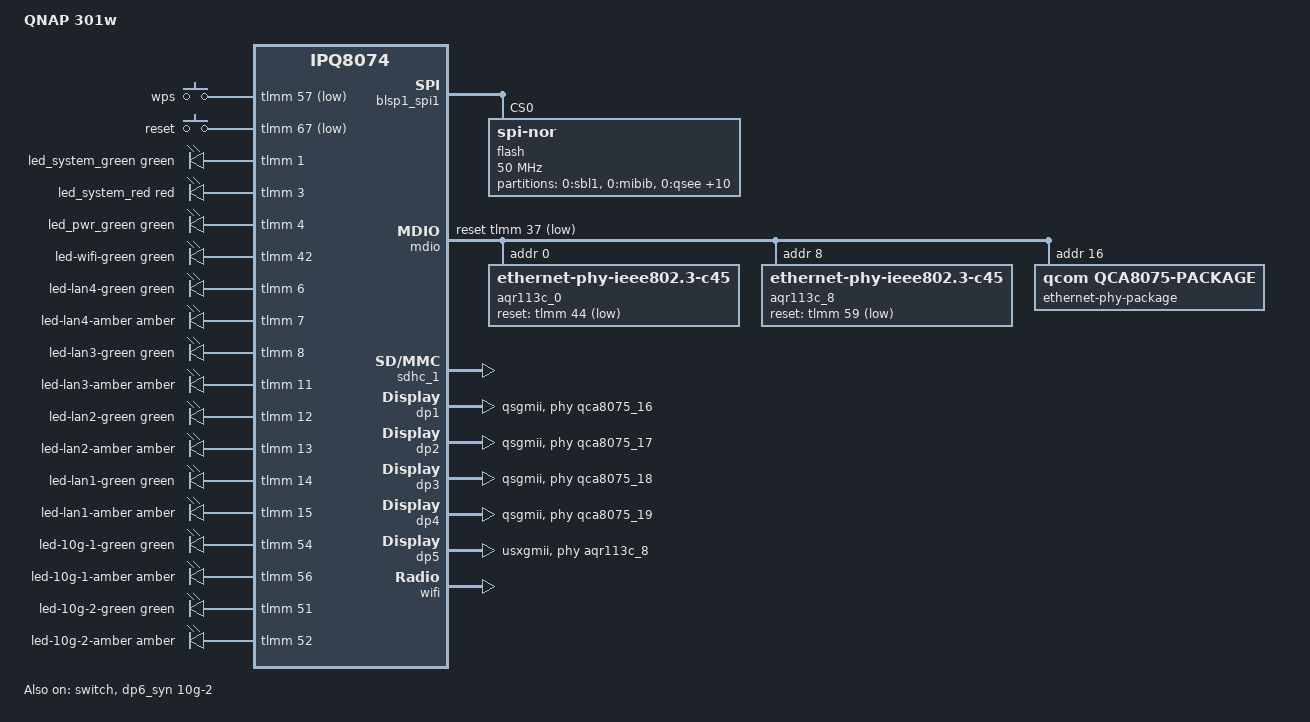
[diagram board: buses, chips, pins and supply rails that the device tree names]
// SPDX-License-Identifier: GPL-2.0-or-later OR MIT

/dts-v1/;

#include "ipq8074.dtsi"
#include "ipq8074-ess.dtsi"
#include "ipq8074-nss.dtsi"
#include "ipq8074-common.dtsi"
#include "ipq8074-hk-cpu.dtsi"

#include <dt-bindings/gpio/gpio.h>
#include <dt-bindings/input/input.h>
#include <dt-bindings/leds/common.h>

/ {
	model = "QNAP 301w";
	compatible = "qnap,301w", "qcom,ipq8074";

	aliases {
		serial0 = &blsp1_uart5;

		led-boot = &led_system_red;
		led-failsafe = &led_system_red;
		led-running = &led_pwr_green;
		led-upgrade = &led_system_red;

		ethernet0 = &dp1;
		ethernet1 = &dp2;
		ethernet2 = &dp3;
		ethernet3 = &dp4;
		ethernet4 = &dp5;
		ethernet5 = &dp6_syn;

		label-mac-device = &dp1;
	};

	chosen {
		stdout-path = "serial0:115200n8";
	};

	keys {
		compatible = "gpio-keys";

		wps-button {
			label = "wps";
			gpios = <&tlmm 57 GPIO_ACTIVE_LOW>;
			linux,code = <KEY_WPS_BUTTON>;
		};

		reset-button {
			label = "reset";
			gpios = <&tlmm 67 GPIO_ACTIVE_LOW>;
			linux,code = <KEY_RESTART>;
		};
	};

	leds {
		compatible = "gpio-leds";

		led_system_green: system-green {
			gpios = <&tlmm 1 GPIO_ACTIVE_HIGH>;
			color = <LED_COLOR_ID_GREEN>;
			function = LED_FUNCTION_STATUS;
		};

		led_system_red: system-red {
			gpios = <&tlmm 3 GPIO_ACTIVE_HIGH>;
			color = <LED_COLOR_ID_RED>;
			function = LED_FUNCTION_STATUS;
		};

		led_pwr_green: pwr-green {
			gpios = <&tlmm 4 GPIO_ACTIVE_HIGH>;
			color = <LED_COLOR_ID_GREEN>;
			function = LED_FUNCTION_POWER;
		};

		led-wifi-green {
			gpios = <&tlmm 42 GPIO_ACTIVE_HIGH>;
			color = <LED_COLOR_ID_GREEN>;
			function = LED_FUNCTION_WLAN;
		};

		led-lan4-green {
			gpios = <&tlmm 6 GPIO_ACTIVE_HIGH>;
			color = <LED_COLOR_ID_GREEN>;
			function = LED_FUNCTION_LAN;
			function-enumerator = <4>;
		};

		led-lan4-amber {
			gpios = <&tlmm 7 GPIO_ACTIVE_HIGH>;
			color = <LED_COLOR_ID_AMBER>;
			function = LED_FUNCTION_LAN;
			function-enumerator = <4>;
		};

		led-lan3-green {
			gpios = <&tlmm 8 GPIO_ACTIVE_HIGH>;
			color = <LED_COLOR_ID_GREEN>;
			function = LED_FUNCTION_LAN;
			function-enumerator = <3>;
		};

		led-lan3-amber {
			gpios = <&tlmm 11 GPIO_ACTIVE_HIGH>;
			color = <LED_COLOR_ID_AMBER>;
			function = LED_FUNCTION_LAN;
			function-enumerator = <3>;
		};

		led-lan2-green {
			gpios = <&tlmm 12 GPIO_ACTIVE_HIGH>;
			color = <LED_COLOR_ID_GREEN>;
			function = LED_FUNCTION_LAN;
			function-enumerator = <2>;
		};

		led-lan2-amber {
			gpios = <&tlmm 13 GPIO_ACTIVE_HIGH>;
			color = <LED_COLOR_ID_AMBER>;
			function = LED_FUNCTION_LAN;
			function-enumerator = <2>;
		};

		led-lan1-green {
			gpios = <&tlmm 14 GPIO_ACTIVE_HIGH>;
			color = <LED_COLOR_ID_GREEN>;
			function = LED_FUNCTION_LAN;
			function-enumerator = <1>;
		};

		led-lan1-amber {
			gpios = <&tlmm 15 GPIO_ACTIVE_HIGH>;
			color = <LED_COLOR_ID_AMBER>;
			function = LED_FUNCTION_LAN;
			function-enumerator = <1>;
		};

		led-10g-1-green {
			gpios = <&tlmm 54 GPIO_ACTIVE_HIGH>;
			color = <LED_COLOR_ID_GREEN>;
			function = "10g";
			function-enumerator = <1>;
		};

		led-10g-1-amber {
			gpios = <&tlmm 56 GPIO_ACTIVE_HIGH>;
			color = <LED_COLOR_ID_AMBER>;
			function = "10g";
			function-enumerator = <1>;
		};

		led-10g-2-green {
			gpios = <&tlmm 51 GPIO_ACTIVE_HIGH>;
			color = <LED_COLOR_ID_GREEN>;
			function = "10g";
			function-enumerator = <2>;
		};

		led-10g-2-amber {
			gpios = <&tlmm 52 GPIO_ACTIVE_HIGH>;
			color = <LED_COLOR_ID_AMBER>;
			function = "10g";
			function-enumerator = <2>;
		};
	};
};

&blsp1_spi1 {
	status = "okay";

	flash@0 {
		compatible = "jedec,spi-nor";
		spi-max-frequency = <50000000>;
		reg = <0>;

		partitions {
			compatible = "fixed-partitions";
			#address-cells = <1>;
			#size-cells = <1>;

			partition@0 {
				label = "0:sbl1";
				reg = <0x00000000 0x00050000>;
				read-only;
			};

			partition@50000 {
				label = "0:mibib";
				reg = <0x00050000 0x00010000>;
				read-only;
			};

			partition@60000 {
				label = "0:qsee";
				reg = <0x00060000 0x00180000>;
				read-only;
			};

			partition@1e0000 {
				label = "0:devcfg";
				reg = <0x001e0000 0x00010000>;
				read-only;
			};

			partition@1f0000 {
				label = "0:apdp";
				reg = <0x001f0000 0x00010000>;
				read-only;
			};

			partition@200000 {
				label = "0:rpm";
				reg = <0x00200000 0x00040000>;
				read-only;
			};

			partition@240000 {
				label = "0:cdt";
				reg = <0x00240000 0x00010000>;
				read-only;
			};

			partition@250000 {
				label = "0:appsblenv";
				reg = <0x00250000 0x00020000>;
			};

			partition@270000 {
				label = "0:appsbl";
				reg = <0x00250000 0x00100000>;
				read-only;
			};

			partition@370000 {
				label = "0:art";
				reg = <0x00370000 0x00040000>;
				read-only;
			};

			partition@3b0000 {
				label = "0:ethphyfw1";
				reg = <0x003b0000 0x00080000>;

				nvmem-layout {
					compatible = "fixed-layout";
					#address-cells = <1>;
					#size-cells = <1>;

					aqr0_fw: firmware@0 {
						reg = <0x00000 0x5fc02>;
					};
				};
			};

			partition@430000 {
				label = "0:ethphyfw2";
				reg = <0x00430000 0x00080000>;

				nvmem-layout {
					compatible = "fixed-layout";
					#address-cells = <1>;
					#size-cells = <1>;

					aqr1_fw: firmware@0 {
						reg = <0x00000 0x5fc02>;
					};
				};
			};

			partition@4b0000 {
				label = "reserved";
				reg = <0x004b0000 0x00350000>;
			};
		};
	};
};

&mdio {
	status = "okay";

	pinctrl-0 = <&mdio_pins>;
	pinctrl-names = "default";
	reset-gpios = <&tlmm 37 GPIO_ACTIVE_LOW>;

	aqr113c_0: ethernet-phy@0 {
		compatible ="ethernet-phy-ieee802.3-c45";
		reg = <0>;
		reset-gpios = <&tlmm 44 GPIO_ACTIVE_LOW>;
		firmware-name = "marvell/AQR-G4_v5.4.C-AQR_CIG_WF-1945_0x00000000_ID44778_VER1630.cld";
		nvmem-cell-names = "firmware";
		nvmem-cells = <&aqr0_fw>;
	};

	aqr113c_8: ethernet-phy@8 {
		compatible ="ethernet-phy-ieee802.3-c45";
		reg = <8>;
		reset-gpios = <&tlmm 59 GPIO_ACTIVE_LOW>;
		firmware-name = "marvell/AQR-G4_v5.4.C-AQR_CIG_WF-1945_0x00000008_ID44776_VER1630.cld";
		nvmem-cell-names = "firmware";
		nvmem-cells = <&aqr1_fw>;
	};

	ethernet-phy-package@16 {
		compatible = "qcom,qca8075-package";
		#address-cells = <1>;
		#size-cells = <0>;
		reg = <16>;

		qcom,package-mode = "qsgmii";

		qca8075_16: ethernet-phy@16 {
			compatible = "ethernet-phy-ieee802.3-c22";
			reg = <16>;
		};

		qca8075_17: ethernet-phy@17 {
			compatible = "ethernet-phy-ieee802.3-c22";
			reg = <17>;
		};

		qca8075_18: ethernet-phy@18 {
			compatible = "ethernet-phy-ieee802.3-c22";
			reg = <18>;
		};

		qca8075_19: ethernet-phy@19 {
			compatible = "ethernet-phy-ieee802.3-c22";
			reg = <19>;
		};
	};
};

&sdhc_1 {
	status = "okay";

	/delete-property/ mmc-hs400-1_8v;
	mmc-hs200-1_8v;
	mmc-ddr-1_8v;
	vqmmc-supply = <&l11>;
};

&switch {
	status = "okay";

	switch_lan_bmp = <(ESS_PORT1 | ESS_PORT2 | ESS_PORT3 | ESS_PORT4 | ESS_PORT6)>;
	switch_wan_bmp = <ESS_PORT5>;
	switch_mac_mode = <MAC_MODE_QSGMII>;
	switch_mac_mode1 = <MAC_MODE_USXGMII>;
	switch_mac_mode2 = <MAC_MODE_USXGMII>;

	qcom,port_phyinfo {
		port@0 {
			port_id = <1>;
			phy_address = <16>;
		};

		port@1 {
			port_id = <2>;
			phy_address = <17>;
		};

		port@2 {
			port_id = <3>;
			phy_address = <18>;
		};

		port@3 {
			port_id = <4>;
			phy_address = <19>;
		};

		port@4 {
			port_id = <5>;
			phy_address = <8>;
			compatible = "ethernet-phy-ieee802.3-c45";
			ethernet-phy-ieee802.3-c45;
		};

		port@5 {
			port_id = <6>;
			phy_address = <0>;
			compatible = "ethernet-phy-ieee802.3-c45";
			ethernet-phy-ieee802.3-c45;
		};
	};
};

&edma {
	status = "okay";
};

&dp1 {
	status = "okay";
	phy-mode = "qsgmii";
	phy-handle = <&qca8075_16>;
	label = "lan4";
};

&dp2 {
	status = "okay";
	phy-mode = "qsgmii";
	phy-handle = <&qca8075_17>;
	label = "lan3";
};

&dp3 {
	status = "okay";
	phy-mode = "qsgmii";
	phy-handle = <&qca8075_18>;
	label = "lan2";
};

&dp4 {
	status = "okay";
	phy-mode = "qsgmii";
	phy-handle = <&qca8075_19>;
	label = "lan1";
};

&dp5 {
	status = "okay";
	qcom,mactype = <1>;
	phy-mode = "usxgmii";
	phy-handle = <&aqr113c_8>;
	label = "10g-1";
};

&dp6_syn {
	status = "okay";
	phy-mode = "usxgmii";
	phy-handle = <&aqr113c_0>;
	label = "10g-2";
};

&wifi {
	status = "okay";
	qcom,ath11k-fw-memory-mode = <1>;
	qcom,ath11k-calibration-variant = "QNAP-301w";
};
